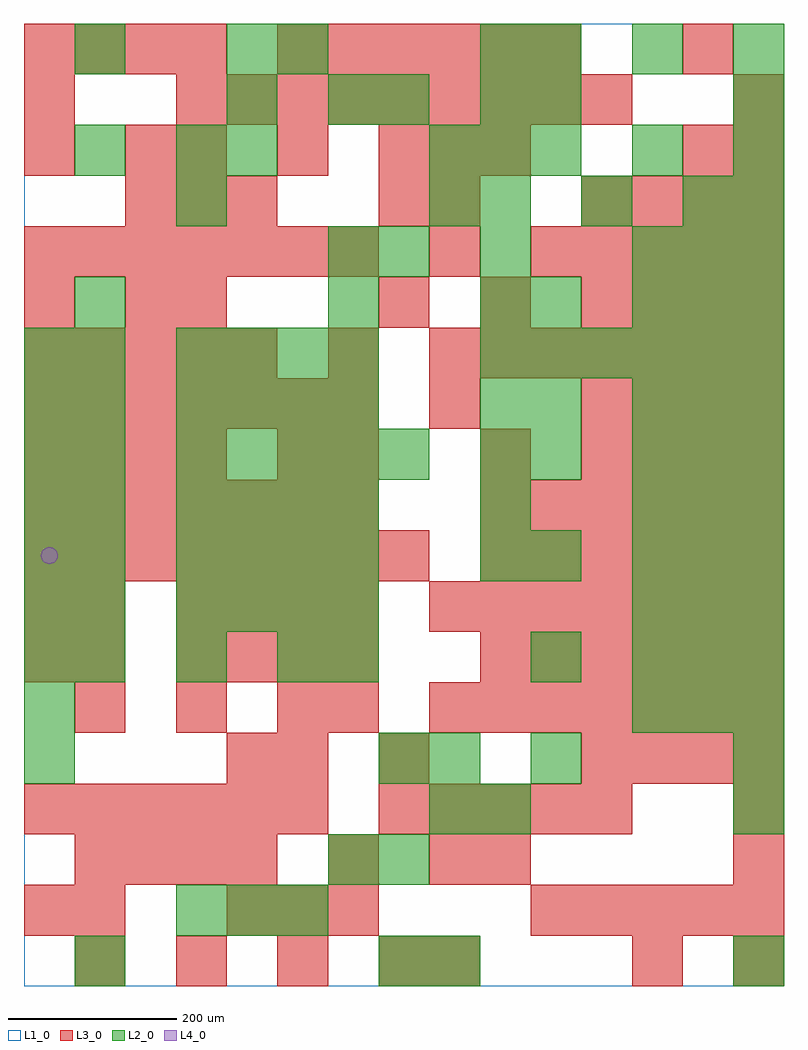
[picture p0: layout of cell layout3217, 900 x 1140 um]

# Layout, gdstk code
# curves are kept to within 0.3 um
import gdstk
lib = gdstk.Library(unit=1e-6, precision=1e-09)
def R(c, l, rs):  # rectangles x0, y0, x1, y1
    for r in rs: c.add(gdstk.rectangle(r[:2], r[2:], *l))
def A(c, l, x, y, w, h, nx, ny, dx, dy):  # array of equal rectangles
    R(c, l, [(x+i*dx, y+j*dy, x+i*dx+w, y+j*dy+h) for i in range(nx) for j in range(ny)])
def P(c, l, *ps):  # polygons
    for p in ps: c.add(gdstk.Polygon(p, *l))
L1_0 = (1, 0)
L2_0 = (2, 0)
L3_0 = (3, 0)
L4_0 = (4, 0)

layout3217 = lib.new_cell('layout3217')
R(layout3217, L1_0, [(0,0,900,1140)])
A(layout3217, L2_0, 420, 0, 60, 60, 1, 3, 0, 120)
A(layout3217, L2_0, 180, 60, 60, 60, 3, 1, 60, 0)
A(layout3217, L2_0, 0, 240, 60, 60, 1, 9, 0, 60)
A(layout3217, L2_0, 600, 240, 60, 60, 1, 4, 0, 120)
A(layout3217, L2_0, 720, 300, 60, 60, 3, 7, 60, 60)
A(layout3217, L2_0, 60, 360, 60, 60, 3, 1, 120, 0)
A(layout3217, L2_0, 60, 420, 60, 60, 1, 7, 0, 60)
A(layout3217, L2_0, 180, 420, 60, 60, 4, 3, 60, 60)
A(layout3217, L2_0, 540, 480, 60, 60, 1, 4, 0, 60)
A(layout3217, L2_0, 180, 600, 60, 60, 5, 1, 60, 0)
A(layout3217, L2_0, 180, 660, 60, 60, 4, 2, 60, 60)
A(layout3217, L2_0, 540, 720, 60, 60, 6, 1, 60, 0)
A(layout3217, L2_0, 720, 780, 60, 60, 3, 2, 60, 60)
A(layout3217, L2_0, 540, 900, 60, 60, 3, 1, 120, 0)
A(layout3217, L2_0, 840, 900, 60, 60, 1, 3, 0, 60)
A(layout3217, L2_0, 240, 960, 60, 60, 1, 3, 0, 60)
A(layout3217, L2_0, 480, 960, 60, 60, 3, 1, 60, 0)
A(layout3217, L2_0, 600, 1080, 60, 60, 3, 1, 120, 0)
R(layout3217, L2_0, [(60,0,120,60), (480,0,540,60), (840,0,900,60), (360,120,420,180), (480,180,540,240), (540,180,600,240), (840,180,900,240), (480,240,540,300), (840,240,900,300), (360,360,420,420), (600,660,660,720), (360,780,420,840), (540,780,600,840), (600,780,660,840), (360,840,420,900), (420,840,480,900), (540,840,600,900), (180,900,240,960), (480,900,540,960), (60,960,120,1020), (180,960,240,1020), (720,960,780,1020), (360,1020,420,1080), (420,1020,480,1080), (540,1020,600,1080), (600,1020,660,1080), (60,1080,120,1140), (300,1080,360,1140), (540,1080,600,1140)])
A(layout3217, L3_0, 60, 0, 60, 60, 4, 1, 120, 0)
A(layout3217, L3_0, 240, 60, 60, 60, 3, 1, 60, 0)
A(layout3217, L3_0, 600, 60, 60, 60, 5, 2, 60, 780)
A(layout3217, L3_0, 60, 120, 60, 60, 4, 1, 60, 0)
A(layout3217, L3_0, 0, 180, 60, 60, 6, 1, 60, 0)
A(layout3217, L3_0, 420, 180, 60, 60, 5, 1, 60, 0)
A(layout3217, L3_0, 660, 240, 60, 60, 4, 2, 60, 360)
A(layout3217, L3_0, 60, 300, 60, 60, 3, 1, 120, 0)
A(layout3217, L3_0, 480, 300, 60, 60, 7, 2, 60, 120)
A(layout3217, L3_0, 180, 360, 60, 60, 4, 2, 60, 60)
A(layout3217, L3_0, 540, 360, 60, 60, 6, 2, 60, 120)
A(layout3217, L3_0, 0, 480, 60, 60, 8, 1, 60, 0)
A(layout3217, L3_0, 0, 540, 60, 60, 7, 2, 60, 120)
A(layout3217, L3_0, 540, 540, 60, 60, 6, 1, 60, 0)
A(layout3217, L3_0, 0, 600, 60, 60, 4, 2, 60, 480)
A(layout3217, L3_0, 660, 660, 60, 60, 4, 2, 60, 240)
A(layout3217, L3_0, 0, 720, 60, 60, 5, 1, 60, 0)
A(layout3217, L3_0, 480, 720, 60, 60, 7, 1, 60, 0)
A(layout3217, L3_0, 420, 780, 60, 60, 3, 1, 120, 0)
A(layout3217, L3_0, 720, 780, 60, 60, 3, 1, 60, 0)
A(layout3217, L3_0, 0, 840, 60, 60, 7, 1, 60, 0)
A(layout3217, L3_0, 480, 840, 60, 60, 1, 3, 0, 60)
A(layout3217, L3_0, 120, 900, 60, 60, 3, 1, 60, 0)
A(layout3217, L3_0, 180, 960, 60, 60, 3, 1, 120, 0)
A(layout3217, L3_0, 180, 1020, 60, 60, 9, 1, 60, 0)
A(layout3217, L3_0, 300, 1080, 60, 60, 6, 1, 60, 0)
R(layout3217, L3_0, [(480,0,540,60), (720,0,780,60), (840,0,900,60), (0,60,60,120), (60,60,120,120), (360,120,420,180), (480,120,540,180), (540,120,600,180), (840,120,900,180), (840,180,900,240), (240,240,300,300), (300,240,360,300), (420,240,480,300), (360,300,420,360), (0,360,60,420), (60,360,120,420), (0,420,60,480), (60,420,120,480), (300,600,360,660), (360,600,420,660), (540,600,600,660), (480,660,540,720), (360,720,420,780), (0,780,60,840), (120,780,180,840), (180,780,240,840), (420,900,480,960), (0,960,60,1020), (120,960,180,1020), (540,960,600,1020), (780,960,840,1020), (840,960,900,1020), (0,1020,60,1080), (840,1020,900,1080), (780,1080,840,1140)])
P(layout3217, L4_0, [(40,510),(39.239,513.827),(37.071,517.071),(33.827,519.239),(30,520),(26.173,519.239),(22.929,517.071),(20.761,513.827),(20,510),(20.761,506.173),(22.929,502.929),(26.173,500.761),(30,500),(33.827,500.761),(37.071,502.929),(39.239,506.173)])

lib.write_gds('layout3217.gds')
